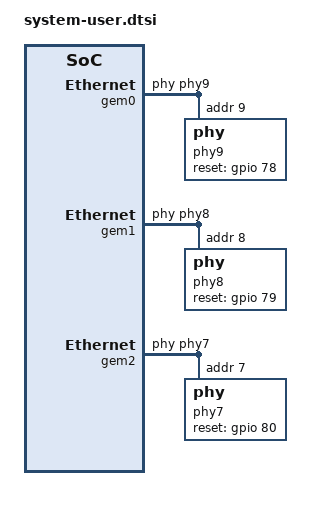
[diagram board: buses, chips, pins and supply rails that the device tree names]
/include/ "system-conf.dtsi"
/ {
    chosen {
        bootargs = "earlycon console=ttyPS0,115200 clk_ignore_unused cpuidle.off=1 root=/dev/mmcblk0p1 rootfstype=ext4 rw rootwait ";
        stdout-path = "serial0:115200n8";
    };
    dma_proxy {  
        compatible ="xlnx,dma_proxy";
        dmas = <&RF_interface_conv_Xband_axi_dma_Xband_txrx 0  &RF_interface_conv_Xband_axi_dma_Xband_txrx 1>;
        dma-names = "dma_proxy_tx", "dma_proxy_rx";  
        dma-coherent;
    };
};

&gem0 {
    phy-handle = <&phy9>;
    phy9: phy@9 {
        reg = <0x9>;
        xlnx,phy-type = <0x4>;
		reset-gpios = <&gpio 78 0>;
    };
};

&gem1 {
    phy-handle = <&phy8>;
    phy8: phy@8 {
        reg = <0x8>;
        xlnx,phy-type = <0x4>;
		reset-gpios = <&gpio 79 0>;
    };
};

&gem2 {
    phy-handle = <&phy7>;
    phy7: phy@7 {
        reg = <0x7>;
        xlnx,phy-type = <0x4>;
		reset-gpios = <&gpio 80 0>;
    };
};
